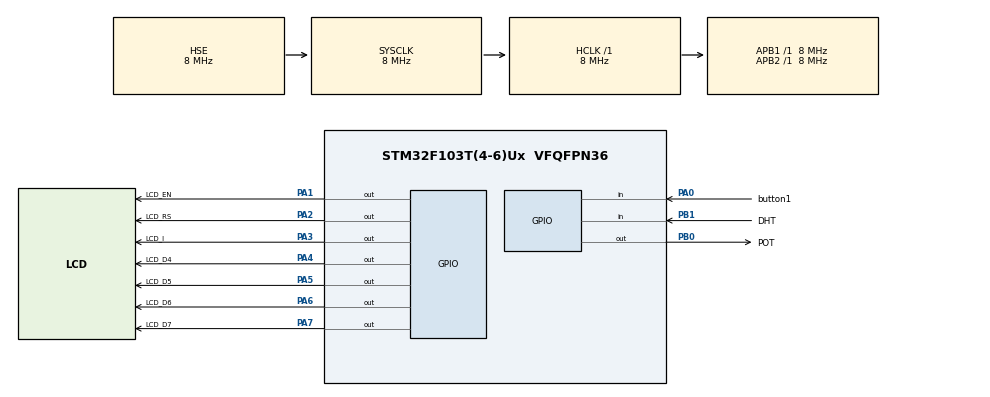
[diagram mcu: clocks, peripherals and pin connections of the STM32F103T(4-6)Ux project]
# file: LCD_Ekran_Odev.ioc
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Mcu.Family=STM32F1
Mcu.Name=STM32F103T(4-6)Ux
Mcu.Package=VFQFPN36
NVIC.PriorityGroup=NVIC_PRIORITYGROUP_4
PA0-WKUP.GPIO_Label=button1
PA0-WKUP.GPIO_PuPd=GPIO_PULLUP
PA0-WKUP.Signal=GPIO_Input
PA1.GPIO_Label=LCD_EN
PA1.Signal=GPIO_Output
PA2.GPIO_Label=LCD_RS
PA2.Signal=GPIO_Output
PA3.GPIO_Label=LCD_I
PA3.Signal=GPIO_Output
PA4.GPIO_Label=LCD_D4
PA4.Signal=GPIO_Output
PA5.GPIO_Label=LCD_D5
PA5.Signal=GPIO_Output
PA6.GPIO_Label=LCD_D6
PA6.Signal=GPIO_Output
PA7.GPIO_Label=LCD_D7
PA7.Signal=GPIO_Output
PB0.GPIO_Label=POT
PB0.Signal=GPIO_Output
PB1.GPIO_Label=DHT
PB1.Signal=GPIO_Input
PD0-OSC_IN.Mode=HSE-External-Oscillator
PD0-OSC_IN.Signal=RCC_OSC_IN
PD1-OSC_OUT.Mode=HSE-External-Oscillator
PD1-OSC_OUT.Signal=RCC_OSC_OUT
ProjectManager.HeapSize=0x200
ProjectManager.StackSize=0x400
ProjectManager.TargetToolchain=STM32CubeIDE
RCC.AHBFreq_Value=8000000
RCC.APB1Freq_Value=8000000
RCC.APB1TimFreq_Value=8000000
RCC.APB2Freq_Value=8000000
RCC.APB2TimFreq_Value=8000000
RCC.HCLKFreq_Value=8000000
RCC.PLLSourceVirtual=RCC_PLLSOURCE_HSE
RCC.SYSCLKFreq_VALUE=8000000
RCC.SYSCLKSource=RCC_SYSCLKSOURCE_HSE
RCC.USBFreq_Value=16000000
VP_SYS_VS_ND.Mode=No_Debug
board=custom

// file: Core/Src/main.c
/* USER CODE BEGIN Header */
/**
  ******************************************************************************
  * @file           : main.c
  * @brief          : Main program body
  ******************************************************************************
  * @attention
  *
  * Copyright (c) 2023 STMicroelectronics.
  * All rights reserved.
  *
  * This software is licensed under terms that can be found in the LICENSE file
  * in the root directory of this software component.
  * If no LICENSE file comes with this software, it is provided AS-IS.
  *
  ******************************************************************************
  */
/* USER CODE END Header */
#include "main.h"

/* USER CODE BEGIN Includes */
#include "stdio.h"
#include "lcd.h"
#include "DHT.h"
/* USER CODE END Includes */

void SystemClock_Config(void);
static void MX_GPIO_Init(void);

/* USER CODE BEGIN 0 */
	DHT_DataTypedef DHT11_Data;
	float Temperature, Humidity;

	char yazi1[16]=" ",yazi2[16];
	int sicaklik=0,nem=0;
	//int rawValue=0;
	//float miliVolt=0;
/* USER CODE END 0 */

int main(void)
{

  /* MCU Configuration--------------------------------------------------------*/

  /* Reset of all peripherals, Initializes the Flash interface and the Systick. */
  HAL_Init();

  /* Configure the system clock */
  SystemClock_Config();

  /* Initialize all configured peripherals */
  MX_GPIO_Init();
  /* USER CODE BEGIN 2 */
  lcd_init(_LCD_4BIT, _LCD_FONT_5x10, _LCD_2LINE);

  //lcd_print(1,1,"Osman Seyban");
  //lcd_delay();
  //HAL_Delay(2000);
  //lcd_print(2,1,"Sera Otomasyonu");
  //lcd_delay();
  //HAL_Delay(2000);

  lcd_clear();
 // lcd_print(1,1,"Sayac:");
  /* USER CODE END 2 */

  /* Infinite loop */
  while (1)
  {

    /* USER CODE BEGIN 3 */
	  DHT_GetData(&DHT11_Data);
	              Temperature = DHT11_Data.Temperature;
	            Humidity = DHT11_Data.Humidity;
	            HAL_Delay(3000);

	  // if(HAL_GPIO_ReadPin(GPIOA,button1_Pin) == 1)

//	     HAL_Delay(1000);
	 sprintf(yazi1,"Sicaklik= %d",sicaklik);
	 sprintf(yazi2,"Nem= %d",nem);
	 lcd_print(1,1,yazi1);
	 lcd_print(2,1,yazi2);
  }
  /* USER CODE END 3 */
}

void SystemClock_Config(void)
{
  RCC_OscInitTypeDef RCC_OscInitStruct = {0};
  RCC_ClkInitTypeDef RCC_ClkInitStruct = {0};

  /** Initializes the RCC Oscillators according to the specified parameters
  * in the RCC_OscInitTypeDef structure.
  */
  RCC_OscInitStruct.OscillatorType = RCC_OSCILLATORTYPE_HSE;
  RCC_OscInitStruct.HSEState = RCC_HSE_ON;
  RCC_OscInitStruct.PLL.PLLState = RCC_PLL_NONE;
  if (HAL_RCC_OscConfig(&RCC_OscInitStruct) != HAL_OK)
  {
    Error_Handler();
  }

  /** Initializes the CPU, AHB and APB buses clocks
  */
  RCC_ClkInitStruct.ClockType = RCC_CLOCKTYPE_HCLK|RCC_CLOCKTYPE_SYSCLK
                              |RCC_CLOCKTYPE_PCLK1|RCC_CLOCKTYPE_PCLK2;
  RCC_ClkInitStruct.SYSCLKSource = RCC_SYSCLKSOURCE_HSE;
  RCC_ClkInitStruct.AHBCLKDivider = RCC_SYSCLK_DIV1;
  RCC_ClkInitStruct.APB1CLKDivider = RCC_HCLK_DIV1;
  RCC_ClkInitStruct.APB2CLKDivider = RCC_HCLK_DIV1;

  if (HAL_RCC_ClockConfig(&RCC_ClkInitStruct, FLASH_LATENCY_0) != HAL_OK)
  {
    Error_Handler();
  }
}

static void MX_GPIO_Init(void)
{
  GPIO_InitTypeDef GPIO_InitStruct = {0};

  /* GPIO Ports Clock Enable */
  __HAL_RCC_GPIOD_CLK_ENABLE();
  __HAL_RCC_GPIOA_CLK_ENABLE();
  __HAL_RCC_GPIOB_CLK_ENABLE();

  /*Configure GPIO pin Output Level */
  HAL_GPIO_WritePin(GPIOA, LCD_EN_Pin|LCD_RS_Pin|LCD_I_Pin|LCD_D4_Pin
                          |LCD_D5_Pin|LCD_D6_Pin|LCD_D7_Pin, GPIO_PIN_RESET);

  /*Configure GPIO pin Output Level */
  HAL_GPIO_WritePin(POT_GPIO_Port, POT_Pin, GPIO_PIN_RESET);

  /*Configure GPIO pin : button1_Pin */
  GPIO_InitStruct.Pin = button1_Pin;
  GPIO_InitStruct.Mode = GPIO_MODE_INPUT;
  GPIO_InitStruct.Pull = GPIO_PULLUP;
  HAL_GPIO_Init(button1_GPIO_Port, &GPIO_InitStruct);

  /*Configure GPIO pins : LCD_EN_Pin LCD_RS_Pin LCD_I_Pin LCD_D4_Pin
                           LCD_D5_Pin LCD_D6_Pin LCD_D7_Pin */
  GPIO_InitStruct.Pin = LCD_EN_Pin|LCD_RS_Pin|LCD_I_Pin|LCD_D4_Pin
                          |LCD_D5_Pin|LCD_D6_Pin|LCD_D7_Pin;
  GPIO_InitStruct.Mode = GPIO_MODE_OUTPUT_PP;
  GPIO_InitStruct.Pull = GPIO_NOPULL;
  GPIO_InitStruct.Speed = GPIO_SPEED_FREQ_LOW;
  HAL_GPIO_Init(GPIOA, &GPIO_InitStruct);

  /*Configure GPIO pin : POT_Pin */
  GPIO_InitStruct.Pin = POT_Pin;
  GPIO_InitStruct.Mode = GPIO_MODE_OUTPUT_PP;
  GPIO_InitStruct.Pull = GPIO_NOPULL;
  GPIO_InitStruct.Speed = GPIO_SPEED_FREQ_LOW;
  HAL_GPIO_Init(POT_GPIO_Port, &GPIO_InitStruct);

  /*Configure GPIO pin : DHT_Pin */
  GPIO_InitStruct.Pin = DHT_Pin;
  GPIO_InitStruct.Mode = GPIO_MODE_INPUT;
  GPIO_InitStruct.Pull = GPIO_NOPULL;
  HAL_GPIO_Init(DHT_GPIO_Port, &GPIO_InitStruct);

}

void Error_Handler(void)
{
  __disable_irq();
  while (1)
  {
  }
}
